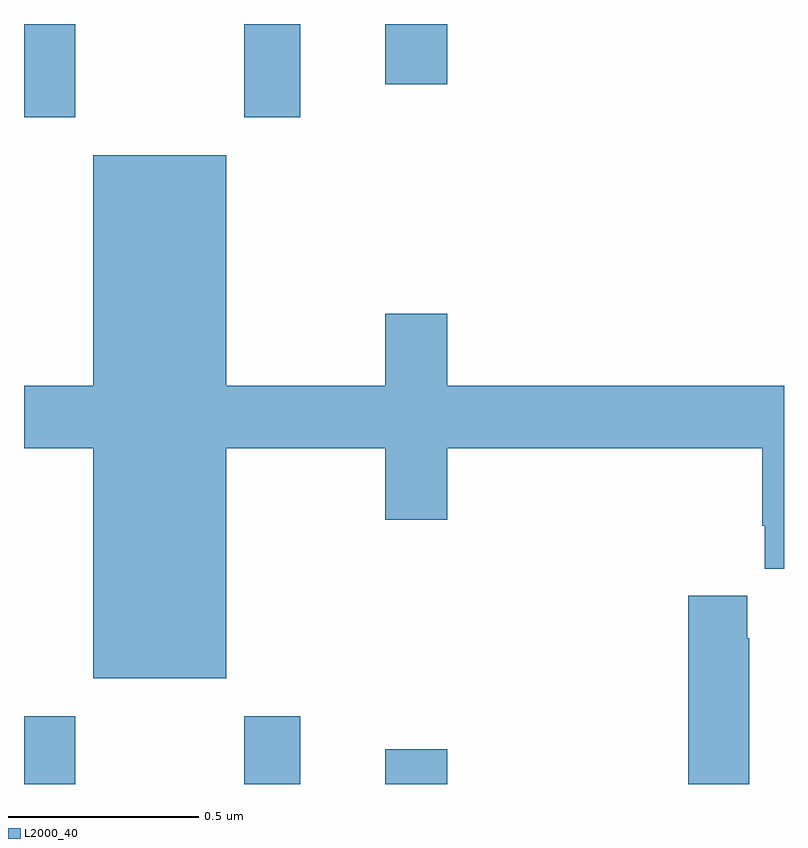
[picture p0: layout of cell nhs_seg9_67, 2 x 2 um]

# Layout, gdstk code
import gdstk
lib = gdstk.Library(unit=1e-6, precision=1e-09)
def R(c, l, rs):  # rectangles x0, y0, x1, y1
    for r in rs: c.add(gdstk.rectangle(r[:2], r[2:], *l))
def P(c, l, *ps):  # polygons
    for p in ps: c.add(gdstk.Polygon(p, *l))
L2000_40 = (2000, 40)

nhs_seg9_67 = lib.new_cell('nhs_seg9_67')
R(nhs_seg9_67, L2000_40, [(111,1231.5,111.135,1231.678), (111.58,1231.5,111.727,1231.678), (111.95,1231.5,112.114,1231.591), (111,1233.255,111.135,1233.5), (111.58,1233.255,111.727,1233.5), (111.95,1233.342,112.114,1233.5)])
P(nhs_seg9_67, L2000_40, [(111.532,1232.384),(111.95,1232.384),(111.95,1232.196),(112.114,1232.196),(112.114,1232.384),(112.943,1232.384),(112.943,1232.179),(112.949,1232.179),(112.949,1232.067),(113,1232.067),(113,1232.548),(112.114,1232.548),(112.114,1232.737),(111.95,1232.737),(111.95,1232.548),(111.532,1232.548),(111.532,1233.154),(111.182,1233.154),(111.182,1232.548),(111,1232.548),(111,1232.384),(111.182,1232.384),(111.182,1231.778),(111.532,1231.778)],
  [(112.908,1231.883),(112.903,1231.883),(112.903,1231.996),(112.748,1231.996),(112.748,1231.5),(112.908,1231.5)])

lib.write_gds('nhs_seg9_67.gds')
